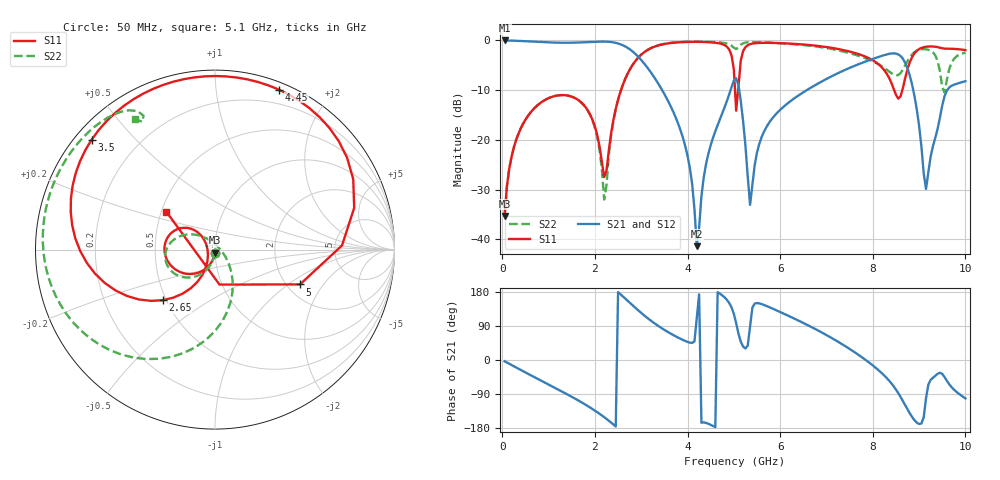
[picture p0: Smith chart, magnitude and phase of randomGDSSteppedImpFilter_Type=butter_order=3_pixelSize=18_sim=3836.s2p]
! freq	dB(S11)	phase(S11)	dB(S12)	phase(S12)
!  dB(S21)	phase(S21)	dB(S22)	phase(S22)
!S-par simulation data
#  GHz  S  DB  R 50
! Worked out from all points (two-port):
!   200 points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, 50 MHz to 10 GHz, reference 50 ohm
!   highest |S21| = -0.01 dB at 50 MHz (marker M1); lowest = -41.4 dB at 4.2 GHz (marker M2)
!   |S21| within 3 dB of the highest: start of sweep to 2.906 GHz; 8.23 GHz to 8.58 GHz (350.1 MHz wide, 4.17 % of centre)
!   lowest |S11| = -35.3 dB at 50 MHz (marker M3), VSWR 1.03, Z = 49.9 - j1.71 ohm
!   |S11| at or under -10 dB: start of sweep to 2.563 GHz; 5.025 GHz to 5.093 GHz (67.45 MHz wide, 1.33 % of centre); 8.463 GHz to 8.638 GHz (175 MHz wide, 2.05 % of centre)
!   |S22| runs from -35.3 to -0.2 dB; largest |S21 - S12| = 0
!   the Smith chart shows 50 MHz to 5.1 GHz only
!   S11 on the Smith chart (normalised r, x): 50 MHz: 1.00, -0.03; 2.65 GHz: 0.48, -0.32; 3.5 GHz: 0.05, +0.38; 4.45 GHz: 0.07, +1.47; 5 GHz: 2.35, -1.23; 5.1 GHz: 0.53, +0.25
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0.05  -35.31 -93.0  -0.01 -3.4  -0.01 -3.4  -35.31 -92.4
0.55  -15.24 -129.7  -0.18 -36.1  -0.18 -36.1  -15.23 -123.4
1.75  -12.89 148.3  -0.38 -114.4  -0.38 -114.4  -12.93 163.5
2.2  -27.49 175.2  -0.23 -150.8  -0.23 -150.8  -32.00 70.4
2.65  -7.84 -136.0  -1.19 162.7  -1.19 162.7  -7.84 -84.7
3.4  -0.93 146.8  -9.18 87.3  -9.18 87.3  -0.90 -156.5
3.5  -0.72 138.2  -10.79 79.5  -10.79 79.5  -0.69 -163.7
4  -0.31 100.3  -23.21 47.8  -23.21 47.8  -0.27 166.5
4.2  -0.29 86.3  -41.39 110.6  -41.39 110.6  -0.25 156.2
4.45  -0.36 68.3  -22.79 -168.3  -22.79 -168.3  -0.28 144.0
5  -5.82 -22.3  -8.09 121.7  -8.09 121.7  -1.46 118.1
5.05  -14.13 -82.7  -7.61 97.2  -7.61 97.2  -1.73 119.6
5.1  -9.29 142.1  -9.02 69.6  -9.02 69.6  -1.40 121.5
5.35  -0.76 55.2  -33.09 89.2  -33.09 89.2  -0.35 107.3
5.7  -0.48 24.8  -17.48 142.9  -17.48 142.9  -0.43 88.4
6.7  -0.99 -30.2  -9.30 85.5  -9.30 85.5  -1.13 26.7
7.65  -2.63 -79.4  -4.95 17.1  -4.95 17.1  -2.97 -59.6
8.35  -7.49 -146.2  -2.71 -54.2  -2.71 -54.2  -6.23 -132.4
8.7  -7.58 47.5  -4.49 -119.2  -4.49 -119.2  -5.02 -141.6
9.15  -1.28 -55.6  -29.89 -100.7  -29.89 -100.7  -1.79 153.1
9.45  -1.46 -84.9  -15.51 -33.6  -15.51 -33.6  -6.19 102.8
10  -1.95 -122.5  -8.20 -101.3  -8.20 -101.3  -2.48 104.3
